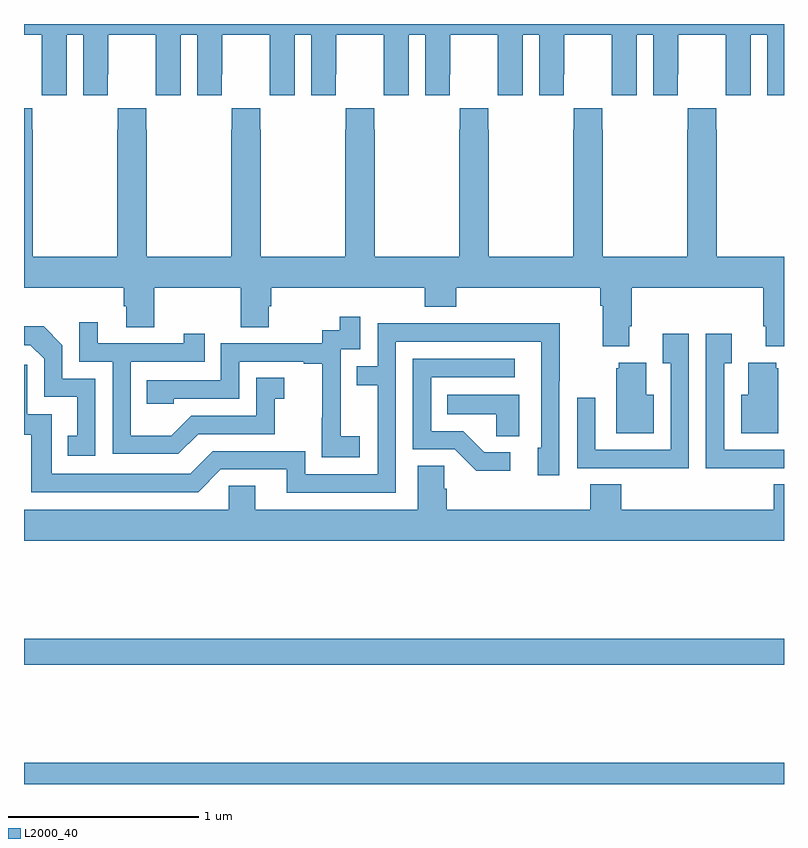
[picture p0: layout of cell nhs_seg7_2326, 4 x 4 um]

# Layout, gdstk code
import gdstk
lib = gdstk.Library(unit=1e-6, precision=1e-09)
def R(c, l, rs):  # rectangles x0, y0, x1, y1
    for r in rs: c.add(gdstk.rectangle(r[:2], r[2:], *l))
def P(c, l, *ps):  # polygons
    for p in ps: c.add(gdstk.Polygon(p, *l))
L2000_40 = (2000, 40)

nhs_seg7_2326 = lib.new_cell('nhs_seg7_2326')
R(nhs_seg7_2326, L2000_40, [(263,1002,267,1002.112), (263,1002.628,267,1002.764)])
P(nhs_seg7_2326, L2000_40, [(263.224,1005.944),(263.312,1005.944),(263.312,1005.624),(263.442,1005.624),(263.442,1005.736),(263.443,1005.736),(263.443,1005.944),(263.693,1005.944),(263.693,1005.736),(263.694,1005.736),(263.694,1005.624),(263.824,1005.624),(263.824,1005.944),(263.912,1005.944),(263.912,1005.624),(264.042,1005.624),(264.042,1005.736),(264.043,1005.736),(264.043,1005.944),(264.293,1005.944),(264.293,1005.736),(264.294,1005.736),(264.294,1005.624),(264.424,1005.624),(264.424,1005.944),(264.512,1005.944),(264.512,1005.624),(264.642,1005.624),(264.642,1005.736),(264.643,1005.736),(264.643,1005.944),(264.893,1005.944),(264.893,1005.736),(264.894,1005.736),(264.894,1005.624),(265.024,1005.624),(265.024,1005.944),(265.112,1005.944),(265.112,1005.624),(265.242,1005.624),(265.242,1005.736),(265.243,1005.736),(265.243,1005.944),(265.493,1005.944),(265.493,1005.736),(265.494,1005.736),(265.494,1005.624),(265.624,1005.624),(265.624,1005.944),(265.712,1005.944),(265.712,1005.624),(265.842,1005.624),(265.842,1005.736),(265.843,1005.736),(265.843,1005.944),(266.093,1005.944),(266.093,1005.736),(266.094,1005.736),(266.094,1005.624),(266.224,1005.624),(266.224,1005.944),(266.312,1005.944),(266.312,1005.624),(266.442,1005.624),(266.442,1005.736),(266.443,1005.736),(266.443,1005.944),(266.693,1005.944),(266.693,1005.736),(266.694,1005.736),(266.694,1005.624),(266.824,1005.624),(266.824,1005.944),(266.912,1005.944),(266.912,1005.624),(267,1005.624),(267,1006),(263,1006),(263,1005.944),(263.093,1005.944),(263.093,1005.736),(263.094,1005.736),(263.094,1005.624),(263.224,1005.624)],
  [(266.185,1004.41),(266.198,1004.41),(266.198,1004.612),(266.891,1004.612),(266.891,1004.41),(266.903,1004.41),(266.903,1004.303),(267,1004.303),(267,1004.776),(266.646,1004.776),(266.646,1005.443),(266.643,1005.443),(266.643,1005.556),(266.493,1005.556),(266.493,1005.443),(266.491,1005.443),(266.491,1004.776),(266.046,1004.776),(266.046,1005.443),(266.043,1005.443),(266.043,1005.556),(265.893,1005.556),(265.893,1005.443),(265.891,1005.443),(265.891,1004.776),(265.446,1004.776),(265.446,1005.443),(265.443,1005.443),(265.443,1005.556),(265.293,1005.556),(265.293,1005.443),(265.291,1005.443),(265.291,1004.776),(264.846,1004.776),(264.846,1005.443),(264.843,1005.443),(264.843,1005.556),(264.693,1005.556),(264.693,1005.443),(264.691,1005.443),(264.691,1004.776),(264.246,1004.776),(264.246,1005.443),(264.243,1005.443),(264.243,1005.556),(264.093,1005.556),(264.093,1005.443),(264.091,1005.443),(264.091,1004.776),(263.646,1004.776),(263.646,1005.443),(263.643,1005.443),(263.643,1005.556),(263.493,1005.556),(263.493,1005.443),(263.491,1005.443),(263.491,1004.776),(263.046,1004.776),(263.046,1005.443),(263.043,1005.443),(263.043,1005.556),(263,1005.556),(263,1004.612),(263.525,1004.612),(263.525,1004.514),(263.537,1004.514),(263.537,1004.404),(263.685,1004.404),(263.685,1004.612),(264.142,1004.612),(264.142,1004.404),(264.289,1004.404),(264.289,1004.514),(264.302,1004.514),(264.302,1004.612),(265.109,1004.612),(265.109,1004.513),(265.274,1004.513),(265.274,1004.612),(266.033,1004.612),(266.033,1004.516),(266.045,1004.516),(266.045,1004.303),(266.185,1004.303)],
  [(264.766,1003.831),(264.668,1003.831),(264.668,1004.06),(264.666,1004.06),(264.666,1004.289),(264.771,1004.289),(264.771,1004.458),(264.663,1004.458),(264.663,1004.388),(264.57,1004.388),(264.57,1004.319),(264.036,1004.319),(264.036,1004.124),(263.647,1004.124),(263.647,1004.001),(263.787,1004.001),(263.787,1004.028),(264.132,1004.028),(264.132,1004.223),(264.473,1004.223),(264.473,1004.211),(264.569,1004.211),(264.569,1003.927),(264.568,1003.927),(264.568,1003.721),(264.766,1003.721)],
  [(263.917,1003.842),(264.321,1003.842),(264.321,1004.027),(264.37,1004.027),(264.37,1004.137),(264.222,1004.137),(264.222,1003.938),(263.88,1003.938),(263.776,1003.834),(263.562,1003.834),(263.562,1004.223),(263.951,1004.223),(263.951,1004.371),(263.84,1004.371),(263.84,1004.319),(263.389,1004.319),(263.389,1004.431),(263.292,1004.431),(263.292,1004.223),(263.466,1004.223),(263.466,1003.737),(263.812,1003.737)],
  [(264.957,1004.328),(265.722,1004.328),(265.722,1003.77),(265.703,1003.77),(265.703,1003.626),(265.818,1003.626),(265.818,1004.119),(265.821,1004.119),(265.821,1004.426),(265.357,1004.426),(265.357,1004.424),(264.861,1004.424),(264.861,1004.199),(264.751,1004.199),(264.751,1004.098),(264.861,1004.098),(264.861,1003.629),(264.48,1003.629),(264.48,1003.752),(263.994,1003.752),(263.874,1003.632),(263.145,1003.632),(263.145,1003.947),(263.016,1003.947),(263.016,1004.206),(263,1004.206),(263,1003.839),(263.037,1003.839),(263.037,1003.536),(263.916,1003.536),(264.036,1003.656),(264.383,1003.656),(264.383,1003.533),(264.957,1003.533)],
  [(263.376,1004.133),(263.202,1004.133),(263.202,1004.31),(263.104,1004.408),(263,1004.408),(263,1004.31),(263.034,1004.31),(263.106,1004.238),(263.106,1004.037),(263.279,1004.037),(263.279,1003.833),(263.23,1003.833),(263.23,1003.728),(263.376,1003.728)],
  [(266.861,1003.662),(267,1003.662),(267,1003.758),(266.685,1003.758),(266.685,1004.215),(266.725,1004.215),(266.725,1004.371),(266.589,1004.371),(266.589,1003.661),(266.861,1003.661)],
  [(266.499,1004.371),(266.363,1004.371),(266.363,1004.215),(266.403,1004.215),(266.403,1003.758),(266.007,1003.758),(266.007,1004.032),(265.911,1004.032),(265.911,1003.662),(266.227,1003.662),(266.227,1003.661),(266.499,1003.661)],
  [(265.558,1003.746),(265.423,1003.746),(265.312,1003.857),(265.143,1003.857),(265.143,1004.142),(265.582,1004.142),(265.582,1004.238),(265.047,1004.238),(265.047,1003.761),(265.266,1003.761),(265.379,1003.649),(265.558,1003.649)],
  [(266.314,1004.05),(266.275,1004.05),(266.275,1004.218),(266.129,1004.218),(266.129,1004.187),(266.117,1004.187),(266.117,1003.847),(266.314,1003.847)],
  [(266.971,1004.187),(266.96,1004.187),(266.96,1004.218),(266.813,1004.218),(266.813,1004.05),(266.774,1004.05),(266.774,1003.847),(266.971,1003.847)],
  [(265.606,1004.05),(265.228,1004.05),(265.228,1003.946),(265.485,1003.946),(265.485,1003.831),(265.606,1003.831)],
  [(267,1003.577),(266.945,1003.577),(266.945,1003.444),(266.144,1003.444),(266.144,1003.577),(265.979,1003.577),(265.979,1003.444),(265.226,1003.444),(265.226,1003.553),(265.212,1003.553),(265.212,1003.676),(265.073,1003.676),(265.073,1003.444),(264.217,1003.444),(264.217,1003.571),(264.078,1003.571),(264.078,1003.444),(263,1003.444),(263,1003.28),(267,1003.28)])

lib.write_gds('nhs_seg7_2326.gds')
